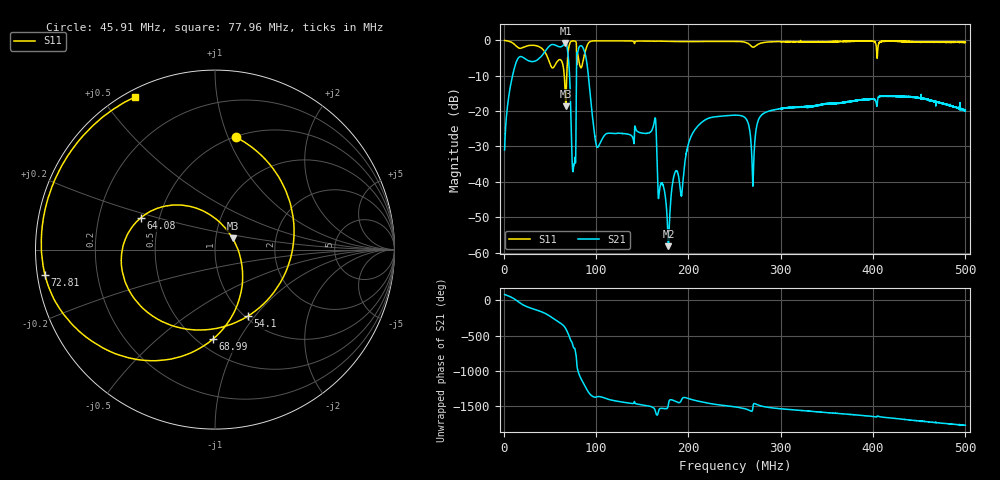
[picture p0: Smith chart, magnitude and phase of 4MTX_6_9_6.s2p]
! NanoVNA-App
! Date: 2026-08-18 21:52:55
! Start: 1MHz Stop: 500MHz Points: 6401
! S-Parameter data: F S11 S21 S12 S22
# Hz S RI R 50
!  Frequency  S11_Real  S11_Imag  S21_Real  S21_Imag  S12_Real  S12_Imag  S22_Real  S22_Imag
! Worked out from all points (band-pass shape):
!   6401 points, 1 MHz to 500 MHz, reference 50 ohm
!   highest |S21| = -0.89 dB at 66.88 MHz (marker M1); lowest = -58.1 dB at 178.5 MHz (marker M2)
!   |S21| within 3 dB of the highest: 42.85 MHz to 69.62 MHz (26.76 MHz wide, 47.6 % of centre); 79.86 MHz to 88.24 MHz (8.38 MHz wide, 9.97 % of centre)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
!   lowest |S11| = -18.6 dB at 67.2 MHz (marker M3), VSWR 1.26, Z = 60.4 + j7.67 ohm
!   |S11| at or under -10 dB: 65.62 MHz to 68.3 MHz (2.678 MHz wide, 4 % of centre)
!   S12 and S22 are empty: the file has one direction only
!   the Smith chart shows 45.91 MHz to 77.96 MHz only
!   S11 on the Smith chart (normalised r, x): 45.91 MHz: 0.51, +1.07; 54.1 MHz: 1.04, -0.92; 64.08 MHz: 0.39, +0.17; 68.99 MHz: 0.59, -0.79; 72.81 MHz: 0.02, -0.07; 77.96 MHz: 0.03, +0.60
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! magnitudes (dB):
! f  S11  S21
! 1 MHz  -0.1  -31.0
! 14.49 MHz  -1.9  -5.6
! 45.91 MHz  -3.9  -2.8
! 54.1 MHz  -7.7  -1.3
! 64.08 MHz  -6.9  -1.6
! 66.88 MHz  -17.1  -0.9
! 67.2 MHz  -18.6  -0.9
! 68.99 MHz  -6.1  -2.5
! 72.81 MHz  -0.4  -21.8
! 75.77 MHz  -0.2  -35.6
! 77.96 MHz  -0.4  -33.6
! 84.19 MHz  -7.7  -1.6
! 101.3 MHz  -0.2  -30.2
! 162.7 MHz  -0.3  -23.6
! 167.4 MHz  -0.3  -44.2
! 178.5 MHz  -0.3  -58.1
! 206 MHz  -0.4  -25.7
! 250.5 MHz  -0.4  -21.2
! 269.9 MHz  -2.0  -41.0
! 333.7 MHz  -0.5  -18.7
! 416.9 MHz  -0.3  -15.8
! 500 MHz  -0.6  -19.8
